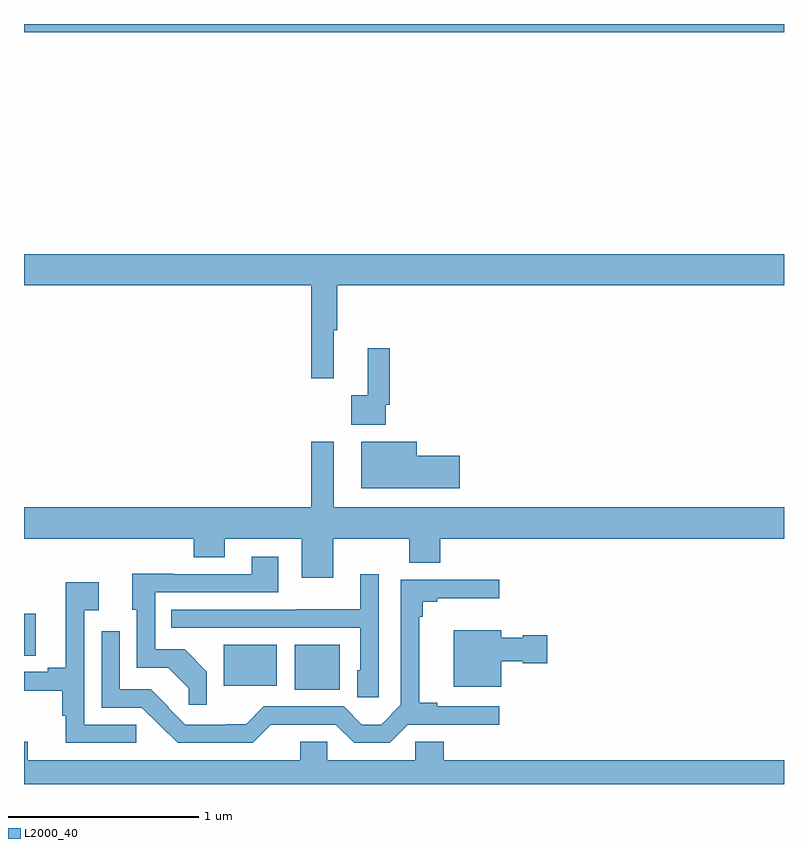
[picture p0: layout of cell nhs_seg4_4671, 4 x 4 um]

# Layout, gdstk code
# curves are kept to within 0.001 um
import gdstk
lib = gdstk.Library(unit=1e-6, precision=1e-09)
def R(c, l, rs):  # rectangles x0, y0, x1, y1
    for r in rs: c.add(gdstk.rectangle(r[:2], r[2:], *l))
def P(c, l, *ps):  # polygons
    for p in ps: c.add(gdstk.Polygon(p, *l))
L2000_40 = (2000, 40)

nhs_seg4_4671 = lib.new_cell('nhs_seg4_4671')
R(nhs_seg4_4671, L2000_40, [(364.424,757.397,364.663,757.633), (364.052,757.418,364.33,757.633), (363,757.576,363.061,757.797), (363,760.856,367,760.9)])
P(nhs_seg4_4671, L2000_40, [(364.631,759.288),(364.649,759.288),(364.649,759.524),(367,759.524),(367,759.688),(363,759.688),(363,759.524),(364.513,759.524),(364.513,759.036),(364.631,759.036)],
  [(364.905,758.896),(364.925,758.896),(364.925,759.193),(364.808,759.193),(364.808,758.945),(364.722,758.945),(364.722,758.792),(364.905,758.792)],
  [(365.293,758.627),(365.068,758.627),(365.068,758.701),(364.775,758.701),(364.775,758.456),(365.293,758.456)],
  [(364.63,758.701),(364.513,758.701),(364.513,758.356),(363,758.356),(363,758.192),(363.893,758.192),(363.893,758.093),(364.057,758.093),(364.057,758.192),(364.463,758.192),(364.463,757.986),(364.627,757.986),(364.627,758.192),(365.027,758.192),(365.027,758.064),(365.191,758.064),(365.191,758.192),(367,758.192),(367,758.356),(364.63,758.356)],
  [(363.963,757.492),(363.847,757.608),(363.69,757.608),(363.69,757.908),(364.339,757.908),(364.339,758.095),(364.199,758.095),(364.199,758.004),(363.787,758.004),(363.787,758.006),(363.569,758.006),(363.569,757.818),(363.594,757.818),(363.594,757.512),(363.76,757.512),(363.868,757.404),(363.868,757.317),(363.963,757.317)],
  [(364.866,758.005),(364.769,758.005),(364.769,757.819),(364.435,757.819),(364.435,757.818),(363.775,757.818),(363.775,757.722),(364.77,757.722),(364.77,757.5),(364.754,757.5),(364.754,757.357),(364.866,757.357)],
  [(364.298,757.211),(364.641,757.212),(364.737,757.116),(364.924,757.116),(365.02,757.212),(365.5,757.211),(365.5,757.308),(365.176,757.308),(365.176,757.328),(365.081,757.328),(365.081,757.781),(365.099,757.781),(365.099,757.858),(365.176,757.858),(365.176,757.877),(365.5,757.877),(365.5,757.976),(365.287,757.976),(365.287,757.974),(364.983,757.974),(364.983,757.317),(364.879,757.213),(364.778,757.213),(364.683,757.308),(364.263,757.308),(364.169,757.214),(364.064,757.214),(364.064,757.212),(363.849,757.212),(363.759,757.302),(363.761,757.304),(363.667,757.398),(363.504,757.398),(363.504,757.705),(363.408,757.705),(363.408,757.302),(363.621,757.302),(363.809,757.116),(364.203,757.116)],
  [(363.591,757.212),(363.318,757.212),(363.318,757.814),(363.394,757.814),(363.394,757.963),(363.221,757.963),(363.221,757.511),(363.125,757.511),(363.125,757.491),(363,757.491),(363,757.39),(363.202,757.39),(363.202,757.259),(363.221,757.259),(363.221,757.116),(363.591,757.116)],
  [(365.512,757.547),(365.625,757.547),(365.625,757.535),(365.755,757.535),(365.755,757.682),(365.625,757.682),(365.625,757.669),(365.512,757.669),(365.512,757.708),(365.261,757.708),(365.261,757.412),(365.512,757.412)],
  [(367,757.024),(365.21,757.024),(365.21,757.122),(365.058,757.122),(365.058,757.024),(364.596,757.024),(364.596,757.122),(364.454,757.122),(364.454,757.024),(363.019,757.024),(363.019,757.123),(363,757.123),(363,756.9),(367,756.9)])

lib.write_gds('nhs_seg4_4671.gds')
